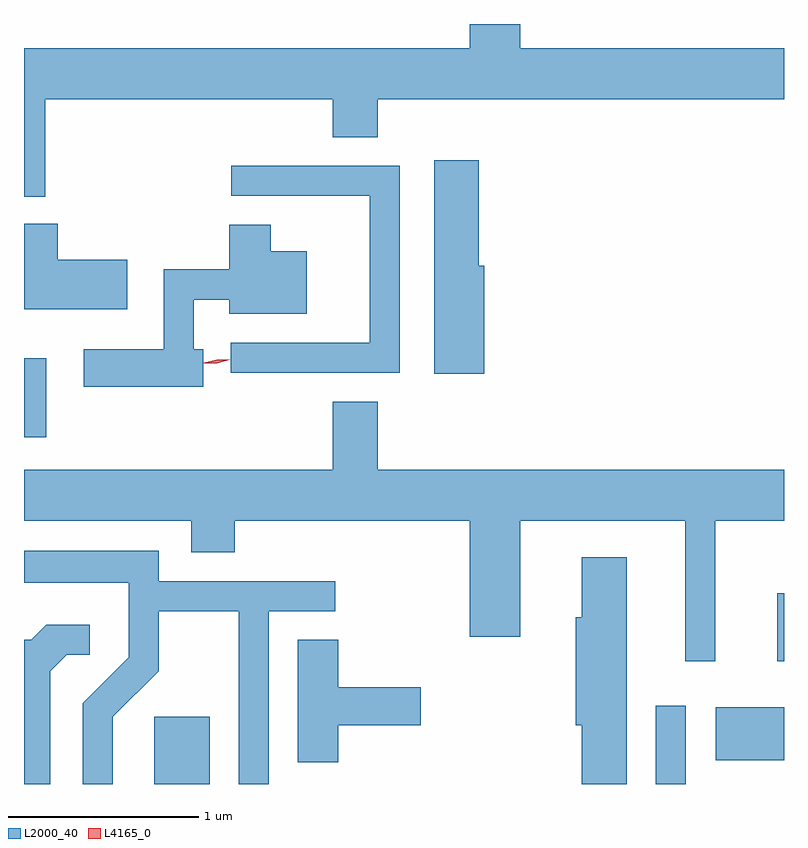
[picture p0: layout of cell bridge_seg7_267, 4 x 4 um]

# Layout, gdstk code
import gdstk
lib = gdstk.Library(unit=1e-6, precision=1e-09)
def R(c, l, rs):  # rectangles x0, y0, x1, y1
    for r in rs: c.add(gdstk.rectangle(r[:2], r[2:], *l))
def P(c, l, *ps):  # polygons
    for p in ps: c.add(gdstk.Polygon(p, *l))
L2000_40 = (2000, 40)
L4165_0 = (4165, 0)

bridge_seg7_267 = lib.new_cell('bridge_seg7_267')
R(bridge_seg7_267, L2000_40, [(1252.376,1761.771,1252.669,1762.124), (1255.016,1761.771,1255.174,1762.183), (1255.331,1761.896,1255.691,1762.174), (1255.656,1762.418,1255.691,1762.774), (1251.691,1763.596,1251.809,1764.013)])
P(bridge_seg7_267, L2000_40, [(1251.804,1765.376),(1253.316,1765.376),(1253.316,1765.176),(1253.554,1765.176),(1253.554,1765.376),(1255.691,1765.376),(1255.691,1765.644),(1254.304,1765.644),(1254.304,1765.771),(1254.036,1765.771),(1254.036,1765.644),(1251.691,1765.644),(1251.691,1764.863),(1251.804,1764.863)],
  [(1254.114,1764.499),(1254.084,1764.499),(1254.084,1765.054),(1253.851,1765.054),(1253.851,1763.931),(1254.114,1763.931)],
  [(1253.669,1765.024),(1252.783,1765.024),(1252.783,1764.866),(1253.511,1764.866),(1253.511,1764.094),(1252.778,1764.094),(1252.778,1763.936),(1253.669,1763.936)],
  [(1252.234,1764.529),(1251.869,1764.529),(1251.869,1764.719),(1251.691,1764.719),(1251.691,1764.271),(1252.234,1764.271)],
  [(1252.634,1764.059),(1252.584,1764.059),(1252.584,1764.321),(1252.771,1764.321),(1252.771,1764.246),(1253.179,1764.246),(1253.179,1764.574),(1252.989,1764.574),(1252.989,1764.714),(1252.771,1764.714),(1252.771,1764.479),(1252.426,1764.479),(1252.426,1764.059),(1252.006,1764.059),(1252.006,1763.861),(1252.634,1763.861)],
  [(1255.329,1763.156),(1255.691,1763.156),(1255.691,1763.424),(1253.554,1763.424),(1253.554,1763.784),(1253.316,1763.784),(1253.316,1763.424),(1251.691,1763.424),(1251.691,1763.156),(1252.571,1763.156),(1252.571,1762.991),(1252.799,1762.991),(1252.799,1763.156),(1254.036,1763.156),(1254.036,1762.546),(1254.304,1762.546),(1254.304,1763.156),(1255.171,1763.156),(1255.171,1762.418),(1255.329,1762.418)],
  [(1252.159,1762.124),(1252.399,1762.364),(1252.399,1762.681),(1252.821,1762.681),(1252.821,1761.771),(1252.979,1761.771),(1252.979,1762.681),(1253.328,1762.681),(1253.328,1762.839),(1252.399,1762.839),(1252.399,1762.999),(1251.691,1762.999),(1251.691,1762.831),(1252.241,1762.831),(1252.241,1762.437),(1252.001,1762.197),(1252.001,1761.771),(1252.159,1761.771)],
  [(1254.864,1762.964),(1254.626,1762.964),(1254.626,1762.649),(1254.596,1762.649),(1254.596,1762.081),(1254.626,1762.081),(1254.626,1761.771),(1254.864,1761.771)],
  [(1251.829,1762.364),(1251.917,1762.451),(1252.038,1762.451),(1252.038,1762.609),(1251.809,1762.609),(1251.729,1762.529),(1251.691,1762.529),(1251.691,1761.771),(1251.829,1761.771)],
  [(1253.344,1762.081),(1253.779,1762.081),(1253.779,1762.279),(1253.344,1762.279),(1253.344,1762.529),(1253.131,1762.529),(1253.131,1761.886),(1253.344,1761.886)])
P(bridge_seg7_267, L4165_0, [(1252.707,1763.986),(1252.638,1763.987),(1252.637,1763.988),(1252.638,1763.988),(1252.705,1764.005),(1252.775,1764.004),(1252.775,1764.003),(1252.775,1764.003)],
  [(1252.707,1763.985),(1252.64,1763.986),(1252.639,1763.987),(1252.64,1763.987),(1252.705,1764.005),(1252.772,1764.004),(1252.772,1764.003),(1252.772,1764.003)])

lib.write_gds('bridge_seg7_267.gds')
